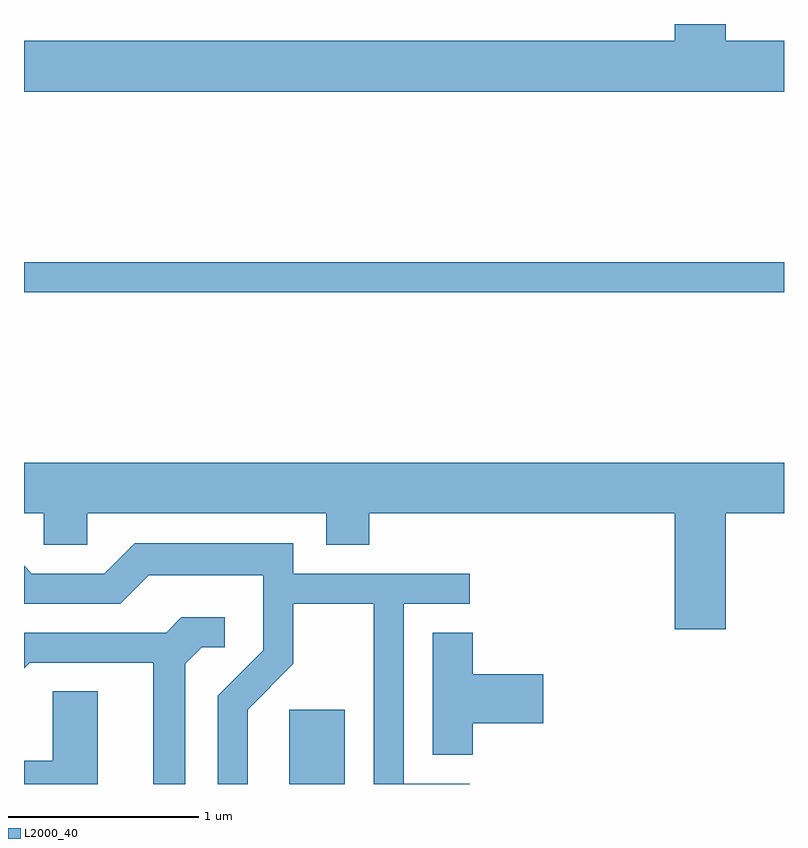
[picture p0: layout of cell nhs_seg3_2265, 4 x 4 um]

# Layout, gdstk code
import gdstk
lib = gdstk.Library(unit=1e-6, precision=1e-09)
def R(c, l, rs):  # rectangles x0, y0, x1, y1
    for r in rs: c.add(gdstk.rectangle(r[:2], r[2:], *l))
def P(c, l, *ps):  # polygons
    for p in ps: c.add(gdstk.Polygon(p, *l))
L2000_40 = (2000, 40)

nhs_seg3_2265 = lib.new_cell('nhs_seg3_2265')
R(nhs_seg3_2265, L2000_40, [(253.006,1157.892,253.299,1158.284), (251.611,1160.481,255.611,1160.639)])
P(nhs_seg3_2265, L2000_40, [(255.611,1161.804),(255.304,1161.804),(255.304,1161.892),(255.036,1161.892),(255.036,1161.804),(251.611,1161.804),(251.611,1161.536),(255.611,1161.536)],
  [(255.304,1159.316),(255.611,1159.316),(255.611,1159.584),(251.611,1159.584),(251.611,1159.316),(251.716,1159.316),(251.716,1159.151),(251.944,1159.151),(251.944,1159.316),(253.201,1159.316),(253.201,1159.151),(253.429,1159.151),(253.429,1159.316),(255.036,1159.316),(255.036,1158.706),(255.304,1158.706)],
  [(252.789,1158.284),(253.029,1158.524),(253.029,1158.841),(253.451,1158.841),(253.451,1157.892),(253.958,1157.892),(253.958,1157.894),(253.609,1157.894),(253.609,1158.841),(253.958,1158.841),(253.958,1158.999),(253.029,1158.999),(253.029,1159.159),(252.194,1159.159),(252.034,1158.999),(251.652,1158.999),(251.611,1159.04),(251.611,1158.841),(252.117,1158.841),(252.267,1158.991),(252.871,1158.991),(252.871,1158.597),(252.631,1158.357),(252.631,1157.892),(252.789,1157.892)],
  [(252.459,1158.524),(252.547,1158.611),(252.668,1158.611),(252.668,1158.769),(252.439,1158.769),(252.359,1158.689),(251.611,1158.689),(251.611,1158.5),(251.642,1158.531),(252.291,1158.531),(252.291,1157.892),(252.459,1157.892)],
  [(253.974,1158.211),(254.344,1158.211),(254.344,1158.469),(253.974,1158.469),(253.974,1158.689),(253.761,1158.689),(253.761,1158.046),(253.974,1158.046)],
  [(251.999,1158.379),(251.761,1158.379),(251.761,1158.014),(251.611,1158.014),(251.611,1157.892),(251.999,1157.892)])

lib.write_gds('nhs_seg3_2265.gds')
